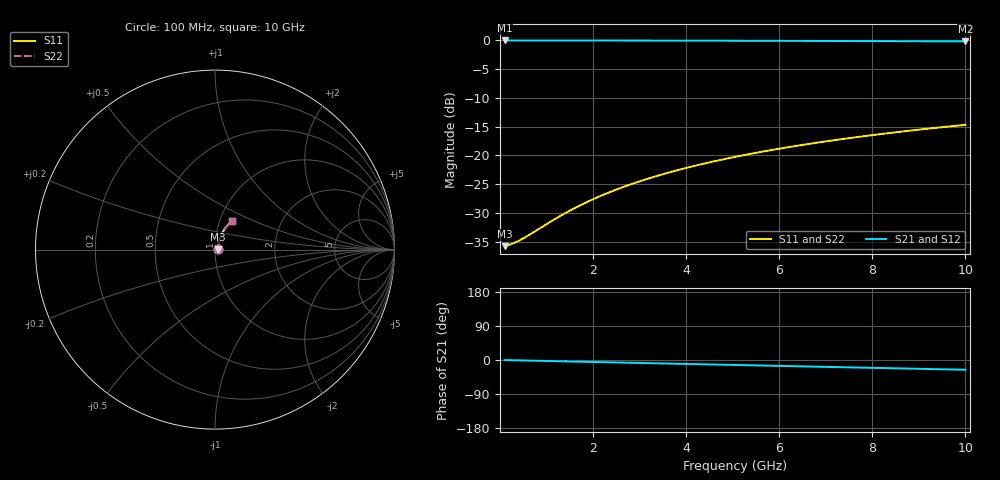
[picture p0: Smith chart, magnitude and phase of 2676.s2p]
# Hz S RI R 50.00
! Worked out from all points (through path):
!   100 points, 100 MHz to 10 GHz, reference 50 ohm
!   highest |S21| = -0.14 dB at 100 MHz (marker M1); lowest = -0.3 dB at 10 GHz (marker M2)
!   group delay of S21, straight-line fit = 7.16 ps
!   lowest |S11| = -35.7 dB at 100 MHz (marker M3), VSWR 1.03, Z = 51.7 + j0.191 ohm
!   |S11| at or under -10 dB: start of sweep to end of sweep
!   |S22| runs from -35.7 to -14.7 dB; largest |S21 - S12| = 0
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1e8  0.0164 0.00184  0.9836 -0.00448  0.9836 -0.00448  0.0164 0.00184
2e8  0.0165 0.00369  0.9835 -0.00895  0.9835 -0.00895  0.0165 0.00369
3e8  0.0166 0.00553  0.9833 -0.0134  0.9833 -0.0134  0.0166 0.00553
5e8  0.0169 0.00921  0.983 -0.0224  0.983 -0.0224  0.0169 0.00921
1.1e9  0.0179 0.0202  0.9816 -0.0492  0.9816 -0.0492  0.0179 0.0202
1.3e9  0.0184 0.0239  0.981 -0.0581  0.981 -0.0581  0.0184 0.0239
1.5e9  0.0189 0.0275  0.9803 -0.067  0.9803 -0.067  0.0189 0.0275
1.8e9  0.0198 0.033  0.979 -0.0803  0.979 -0.0803  0.0198 0.033
2.1e9  0.0209 0.0384  0.9776 -0.0936  0.9776 -0.0936  0.0209 0.0384
2.5e9  0.0225 0.0455  0.9753 -0.1113  0.9753 -0.1113  0.0225 0.0455
2.9e9  0.0243 0.0527  0.9727 -0.1289  0.9727 -0.1289  0.0243 0.0527
3.4e9  0.027 0.0614  0.9689 -0.1508  0.9689 -0.1508  0.027 0.0614
3.8e9  0.0294 0.0683  0.9654 -0.1683  0.9654 -0.1683  0.0294 0.0683
4.2e9  0.0321 0.0751  0.9616 -0.1856  0.9616 -0.1856  0.0321 0.0751
4.6e9  0.035 0.0818  0.9575 -0.2028  0.9575 -0.2028  0.035 0.0818
5.1e9  0.039 0.0901  0.9518 -0.2241  0.9518 -0.2241  0.039 0.0901
5.9e9  0.0461 0.1028  0.9416 -0.2578  0.9416 -0.2578  0.0461 0.1028
6.7e9  0.0541 0.1149  0.93 -0.2909  0.93 -0.2909  0.0541 0.1149
7.5e9  0.0629 0.1264  0.9172 -0.3234  0.9172 -0.3234  0.0629 0.1264
8.4e9  0.0737 0.1384  0.9013 -0.359  0.9013 -0.359  0.0737 0.1384
9.2e9  0.084 0.1483  0.886 -0.3898  0.886 -0.3898  0.084 0.1483
1e10  0.095 0.1574  0.8695 -0.4198  0.8695 -0.4198  0.095 0.1574
